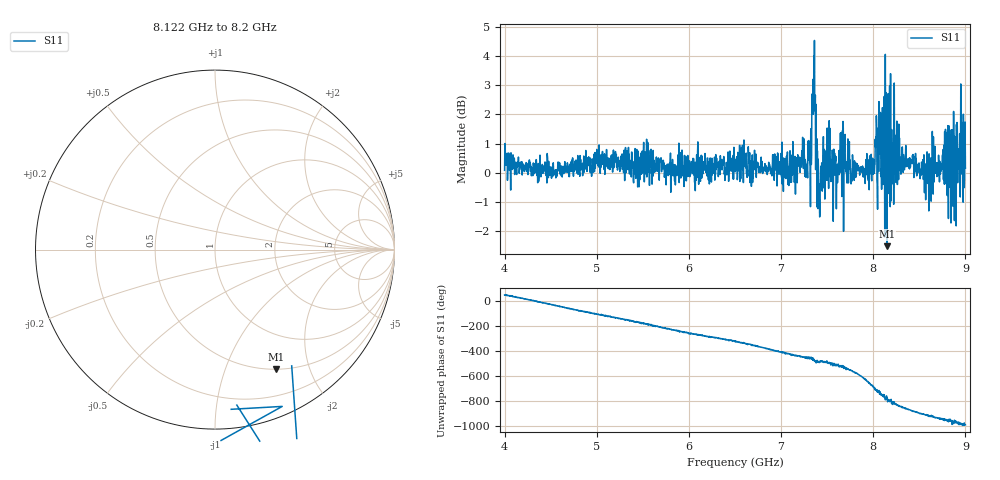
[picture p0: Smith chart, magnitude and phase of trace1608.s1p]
! Created with skrf 1.8.0 (http://scikit-rf.org).
# Hz S RI R 50.0
!freq ReS11 ImS11
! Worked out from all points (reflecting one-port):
!   1601 points, 4 GHz to 9 GHz, reference 50 ohm
!   lowest |S11| = -2.5 dB at 8.15 GHz (marker M1), VSWR 6.96, Z = 24.9 - j75.6 ohm
!   phase of S11 starts at 50 deg and turns -1040 deg over the sweep
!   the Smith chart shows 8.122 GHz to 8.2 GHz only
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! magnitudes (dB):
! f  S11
! 4 GHz  0.1
! 4.625 GHz  -0.1
! 5.25 GHz  0.0
! 5.875 GHz  0.2
! 6.5 GHz  0.4
! 7.125 GHz  0.3
! 7.294 GHz  0.6
! 7.356 GHz  4.0
! 7.381 GHz  1.0
! 7.4 GHz  -1.2
! 7.416 GHz  -1.0
! 7.506 GHz  -0.1
! 7.591 GHz  0.4
! 7.65 GHz  1.4
! 7.75 GHz  0.2
! 7.991 GHz  0.1
! 8.053 GHz  1.2
! 8.066 GHz  1.0
! 8.134 GHz  0.9
! 8.15 GHz  -2.5
! 8.156 GHz  2.7
! 8.216 GHz  0.9
! 8.375 GHz  0.5
! 8.578 GHz  -0.1
! 8.8 GHz  0.8
! 8.875 GHz  0.7
! 8.928 GHz  0.8
! 9 GHz  0.2
